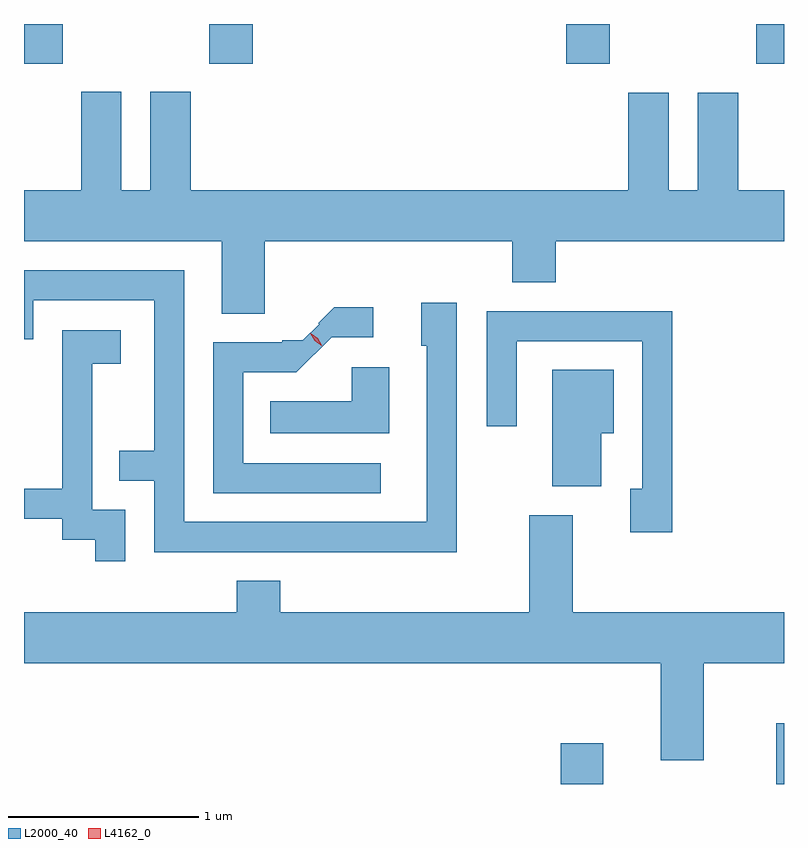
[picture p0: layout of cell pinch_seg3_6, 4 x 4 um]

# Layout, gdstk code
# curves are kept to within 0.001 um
import gdstk
lib = gdstk.Library(unit=1e-6, precision=1e-09)
def R(c, l, rs):  # rectangles x0, y0, x1, y1
    for r in rs: c.add(gdstk.rectangle(r[:2], r[2:], *l))
def P(c, l, *ps):  # polygons
    for p in ps: c.add(gdstk.Polygon(p, *l))
L2000_40 = (2000, 40)
L4162_0 = (4162, 0)

pinch_seg3_6 = lib.new_cell('pinch_seg3_6')
R(pinch_seg3_6, L2000_40, [(827.636,1189.76,827.859,1189.974), (828.771,1189.76,828.811,1190.079), (824.811,1193.551,825.014,1193.76), (825.786,1193.551,826.014,1193.76), (827.666,1193.551,827.894,1193.76), (828.666,1193.551,828.811,1193.76)])
P(pinch_seg3_6, L2000_40, [(825.851,1192.236),(826.079,1192.236),(826.079,1192.616),(827.381,1192.616),(827.381,1192.401),(827.609,1192.401),(827.609,1192.616),(828.811,1192.616),(828.811,1192.884),(828.569,1192.884),(828.569,1193.399),(828.356,1193.399),(828.356,1192.884),(828.204,1192.884),(828.204,1193.399),(827.991,1193.399),(827.991,1192.884),(825.689,1192.884),(825.689,1193.404),(825.476,1193.404),(825.476,1192.884),(825.324,1192.884),(825.324,1193.404),(825.111,1193.404),(825.111,1192.884),(824.811,1192.884),(824.811,1192.616),(825.851,1192.616)],
  [(827.089,1192.294),(826.901,1192.294),(826.901,1192.066),(826.931,1192.066),(826.931,1191.139),(825.654,1191.139),(825.654,1192.464),(824.811,1192.464),(824.811,1192.101),(824.859,1192.101),(824.859,1192.306),(825.496,1192.306),(825.496,1191.514),(825.313,1191.514),(825.313,1191.356),(825.496,1191.356),(825.496,1190.981),(827.089,1190.981)],
  [(826.688,1191.449),(825.964,1191.449),(825.964,1191.926),(826.245,1191.926),(826.431,1192.112),(826.648,1192.111),(826.648,1192.269),(826.443,1192.269),(826.36,1192.186),(826.364,1192.181),(826.279,1192.095),(826.169,1192.095),(826.169,1192.084),(825.806,1192.084),(825.806,1191.291),(826.688,1191.291)],
  [(828.224,1192.249),(827.246,1192.249),(827.246,1191.643),(827.404,1191.643),(827.404,1192.091),(828.066,1192.091),(828.066,1191.314),(828.001,1191.314),(828.001,1191.086),(828.224,1191.086)],
  [(825.344,1191.204),(825.169,1191.204),(825.169,1191.971),(825.319,1191.971),(825.319,1192.149),(825.011,1192.149),(825.011,1191.314),(824.811,1191.314),(824.811,1191.156),(825.011,1191.156),(825.011,1191.046),(825.186,1191.046),(825.186,1190.933),(825.344,1190.933)],
  [(826.734,1191.954),(826.536,1191.954),(826.536,1191.774),(826.108,1191.774),(826.108,1191.606),(826.734,1191.606)],
  [(827.849,1191.606),(827.914,1191.606),(827.914,1191.939),(827.591,1191.939),(827.591,1191.326),(827.849,1191.326)],
  [(828.389,1190.396),(828.811,1190.396),(828.811,1190.664),(827.699,1190.664),(827.699,1191.174),(827.471,1191.174),(827.471,1190.664),(826.159,1190.664),(826.159,1190.829),(825.931,1190.829),(825.931,1190.664),(824.811,1190.664),(824.811,1190.396),(828.161,1190.396),(828.161,1189.886),(828.389,1189.886)])
P(pinch_seg3_6, L4162_0, [(826.381,1192.064),(826.342,1192.092),(826.318,1192.133),(826.318,1192.133),(826.319,1192.133),(826.357,1192.105),(826.382,1192.064),(826.382,1192.064)],
  [(826.378,1192.069),(826.344,1192.093),(826.323,1192.13),(826.323,1192.13),(826.324,1192.13),(826.358,1192.106),(826.379,1192.07),(826.379,1192.069)])

lib.write_gds('pinch_seg3_6.gds')
